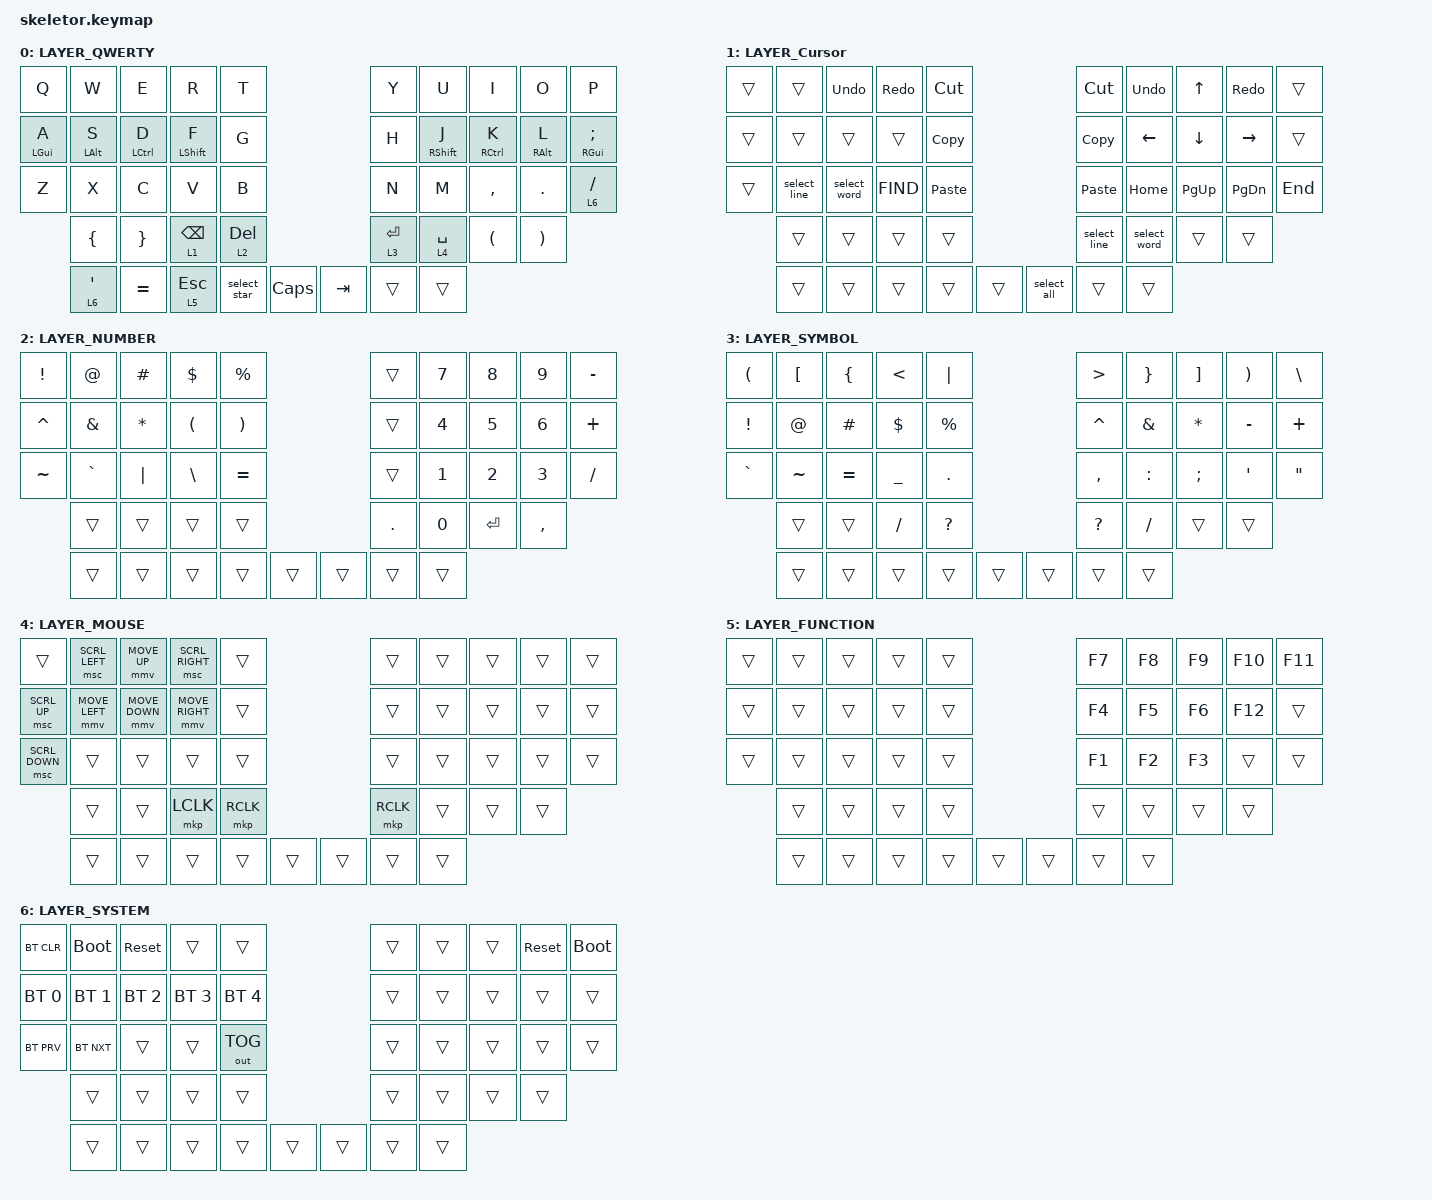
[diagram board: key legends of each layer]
/*
 * Optimized ZMK Keymap
 */

#include <behaviors.dtsi>
#include <dt-bindings/zmk/bt.h>
#include <dt-bindings/zmk/keys.h>
#include <dt-bindings/zmk/outputs.h>
#include <dt-bindings/zmk/pointing.h>

/ {
    behaviors {
        hm: hm {
            compatible = "zmk,behavior-hold-tap";
            bindings = <&kp>, <&kp>;

            #binding-cells = <2>;
            tapping-term-ms = <180>;
            quick-tap-ms = <150>;
            flavor = "balanced";
            hold-trigger-key-positions = <24 14 33 4>;
        };
    };

    macros {
        select_star: select_star {
            compatible = "zmk,behavior-macro";
            #binding-cells = <0>;
            bindings = <&kp LS(S) &kp LS(E) &kp LS(L) &kp LS(E) &kp LS(C) &kp LS(T) &kp SPACE &kp STAR &kp RET &kp LS(F) &kp LS(R) &kp LS(O) &kp LS(M) &kp SPACE>;
        };

        Copy: Copy {
            compatible = "zmk,behavior-macro";
            #binding-cells = <0>;
            bindings = <&kp LC(C)>;
            label = "COPY";
        };

        Cut: Cut {
            compatible = "zmk,behavior-macro";
            #binding-cells = <0>;
            bindings = <&kp LC(X)>;
            label = "CUT";
        };

        Paste: Paste {
            compatible = "zmk,behavior-macro";
            #binding-cells = <0>;
            bindings = <&kp LC(V)>;
            label = "PASTE";
        };

        Undo: Undo {
            compatible = "zmk,behavior-macro";
            #binding-cells = <0>;
            bindings = <&kp LC(Z)>;
            label = "UNDO";
        };

        Redo: Redo {
            compatible = "zmk,behavior-macro";
            #binding-cells = <0>;
            bindings = <&kp LC(Y)>;
            label = "REDO";
        };

        select_all: select_all {
            compatible = "zmk,behavior-macro";
            #binding-cells = <0>;
            bindings = <&kp LC(A)>;
            label = "SELECT_ALL";
        };

        select_left: select_left {
            compatible = "zmk,behavior-macro";
            #binding-cells = <0>;
            bindings = <&kp LS(HOME)>;
            label = "SELECT_LEFT";
        };

        select_right: select_right {
            compatible = "zmk,behavior-macro";
            #binding-cells = <0>;
            bindings = <&kp LS(END)>;
            label = "SELECT_RIGHT";
        };

        select_line: select_line {
            compatible = "zmk,behavior-macro";
            #binding-cells = <0>;
            bindings = <&select_left &select_right>;
            label = "SELECT_LINE";
        };

        select_word: select_word {
            compatible = "zmk,behavior-macro";
            #binding-cells = <0>;
            bindings = <&kp LC(LEFT_ARROW) &kp LC(LS(RIGHT))>;
            label = "SELECT_WORD";
        };
    };

    keymap {
        compatible = "zmk,keymap";

        /* ================= DEFAULT ================= */

        LAYER_QWERTY {
            bindings = <
&kp Q       &kp W           &kp E            &kp R            &kp T                              &kp Y      &kp U        &kp I        &kp O       &kp P
&hm LGUI A  &hm LALT S      &hm LCTRL D      &hm LSHFT F      &kp G                              &kp H      &hm RSHFT J  &hm RCTRL K  &hm RALT L  &hm RGUI SEMICOLON
&kp Z       &kp X           &kp C            &kp V            &kp B                              &kp N      &kp M        &kp COMMA    &kp DOT     &lt 6 FSLH
            &kp LEFT_BRACE  &kp RIGHT_BRACE  &lt 1 BACKSPACE  &lt 2 DEL                          &lt 3 RET  &lt 4 SPACE  &kp LPAR     &kp RPAR
            &lt 6 SQT       &kp EQUAL        &lt 5 ESC        &select_star    &kp CAPS  &kp TAB  &trans     &trans
            >;
        };

        /* ================= NAV / CURSOR ================= */

        LAYER_Cursor {
            bindings = <
&trans  &trans        &Undo         &Redo       &Cut                           &Cut          &Undo         &kp UP       &Redo          &trans
&trans  &trans        &trans        &trans      &Copy                          &Copy         &kp LEFT      &kp DOWN     &kp RIGHT      &trans
&trans  &select_line  &select_word  &kp K_FIND  &Paste                         &Paste        &kp HOME      &kp PAGE_UP  &kp PAGE_DOWN  &kp END
        &trans        &trans        &trans      &trans                         &select_line  &select_word  &trans       &trans
        &trans        &trans        &trans      &trans    &trans  &select_all  &trans        &trans
            >;
        };

        /* ================= NUMBER ================= */

        LAYER_NUMBER {
            bindings = <
&kp EXCL   &kp AT     &kp HASH   &kp DLLR       &kp PERCENT                    &trans   &kp N7  &kp N8     &kp N9     &kp MINUS
&kp CARET  &kp AMPS   &kp ASTRK  &kp LPAR       &kp RPAR                       &trans   &kp N4  &kp N5     &kp N6     &kp PLUS
&kp TILDE  &kp GRAVE  &kp PIPE   &kp BACKSLASH  &kp EQUAL                      &trans   &kp N1  &kp N2     &kp N3     &kp FSLH
           &trans     &trans     &trans         &trans                         &kp DOT  &kp N0  &kp ENTER  &kp COMMA
           &trans     &trans     &trans         &trans         &trans  &trans  &trans   &trans
            >;
        };

        /* ================= SYMBOL ================= */

        LAYER_SYMBOL {
            bindings = <
&kp LPAR   &kp LBKT   &kp LBRC   &kp LT     &kp PIPE                        &kp GT        &kp RBRC   &kp RBKT       &kp RPAR   &kp BSLH
&kp EXCL   &kp AT     &kp HASH   &kp DLLR   &kp PERCENT                     &kp CARET     &kp AMPS   &kp ASTRK      &kp MINUS  &kp PLUS
&kp GRAVE  &kp TILDE  &kp EQUAL  &kp UNDER  &kp DOT                         &kp COMMA     &kp COLON  &kp SEMICOLON  &kp SQT    &kp DQT
           &trans     &trans     &kp SLASH  &kp QUESTION                    &kp QUESTION  &kp SLASH  &trans         &trans
           &trans     &trans     &trans     &trans          &trans  &trans  &trans        &trans
            >;
        };

        /* ================= MOUSE ================= */

        LAYER_MOUSE {
            bindings = <
&trans          &msc SCRL_LEFT  &mmv MOVE_UP    &msc SCRL_RIGHT  &trans                       &trans     &trans  &trans  &trans  &trans
&msc SCRL_UP    &mmv MOVE_LEFT  &mmv MOVE_DOWN  &mmv MOVE_RIGHT  &trans                       &trans     &trans  &trans  &trans  &trans
&msc SCRL_DOWN  &trans          &trans          &trans           &trans                       &trans     &trans  &trans  &trans  &trans
                &trans          &trans          &mkp LCLK        &mkp RCLK                    &mkp RCLK  &trans  &trans  &trans
                &trans          &trans          &trans           &trans       &trans  &trans  &trans     &trans
            >;
        };

        /* ================= FUNCTION ================= */

        LAYER_FUNCTION {
            bindings = <
&trans  &trans  &trans  &trans  &trans                    &kp F7  &kp F8  &kp F9  &kp F10  &kp F11
&trans  &trans  &trans  &trans  &trans                    &kp F4  &kp F5  &kp F6  &kp F12  &trans
&trans  &trans  &trans  &trans  &trans                    &kp F1  &kp F2  &kp F3  &trans   &trans
        &trans  &trans  &trans  &trans                    &trans  &trans  &trans  &trans
        &trans  &trans  &trans  &trans    &trans  &trans  &trans  &trans
            >;
        };

        /* ================= SYSTEM ================= */

        LAYER_SYSTEM {
            bindings = <
&bt BT_CLR    &bootloader   &sys_reset    &trans        &trans                          &trans  &trans  &trans  &sys_reset  &bootloader
&bt BT_SEL 0  &bt BT_SEL 1  &bt BT_SEL 2  &bt BT_SEL 3  &bt BT_SEL 4                    &trans  &trans  &trans  &trans      &trans
&bt BT_PRV    &bt BT_NXT    &trans        &trans        &out OUT_TOG                    &trans  &trans  &trans  &trans      &trans
              &trans        &trans        &trans        &trans                          &trans  &trans  &trans  &trans
              &trans        &trans        &trans        &trans          &trans  &trans  &trans  &trans
            >;
        };
    };
};
